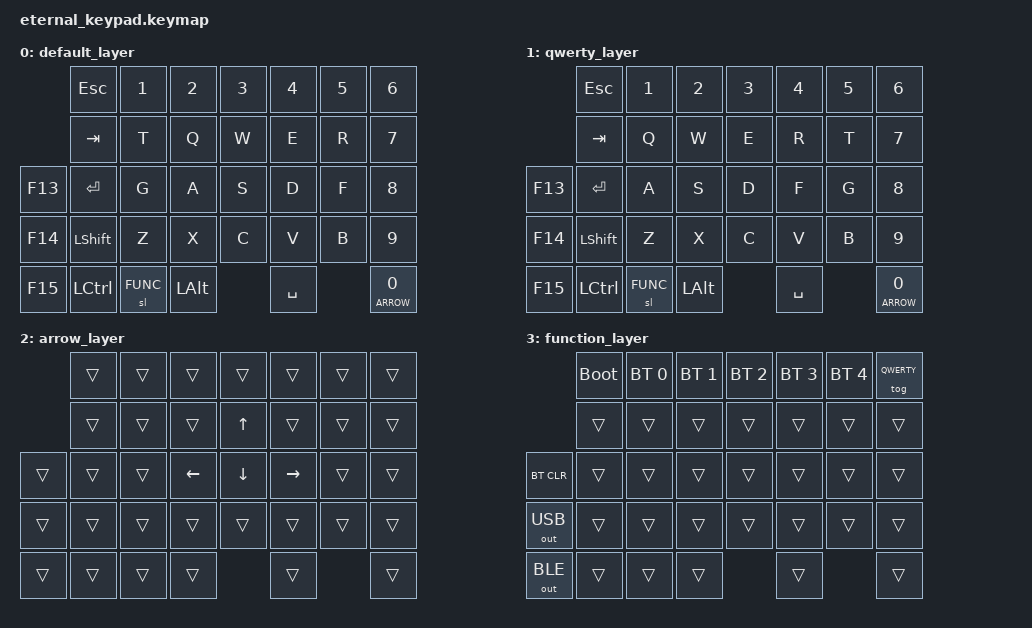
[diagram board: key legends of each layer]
/*
 * Copyright (c) 2022 The ZMK Contributors
 *
 * SPDX-License-Identifier: MIT
 */

#include <behaviors.dtsi>
#include <dt-bindings/zmk/keys.h>
#include <dt-bindings/zmk/bt.h>
#include <dt-bindings/zmk/outputs.h>
#include <dt-bindings/zmk/rgb.h>

#define BASE        0
#define QWERTY      1
#define ARROW       2
#define FUNC        3

/ {
  chosen {
      zmk,kscan = &kscan0;
      zmk,matrix-transform = &default_transform;
  };

  keymap {
    compatible = "zmk,keymap";

    default_layer {
      bindings = <
                    &kp ESC   &kp N1    &kp N2    &kp N3  &kp N4     &kp N5  &kp N6
                    &kp TAB   &kp T     &kp Q     &kp W   &kp E      &kp R   &kp N7
        &kp F13     &kp ENTER &kp G     &kp A     &kp S   &kp D      &kp F   &kp N8
        &kp F14     &kp LSHFT &kp Z     &kp X     &kp C   &kp V      &kp B   &kp N9
        &kp F15     &kp LCTRL &sl FUNC  &kp LALT          &kp SPACE          &lt ARROW N0
      >;
    };

    qwerty_layer {
      bindings = <
                    &kp ESC    &kp N1    &kp N2    &kp N3    &kp N4     &kp N5  &kp N6
                    &kp TAB    &kp Q     &kp W     &kp E     &kp R      &kp T   &kp N7
        &kp F13     &kp ENTER  &kp A     &kp S     &kp D     &kp F      &kp G   &kp N8
        &kp F14     &kp LSHFT  &kp Z     &kp X     &kp C     &kp V      &kp B   &kp N9
        &kp F15     &kp LCTRL  &sl FUNC  &kp LALT            &kp SPACE          &lt ARROW N0
      >;
    };

    arrow_layer {
      bindings = <
                    &trans  &trans  &trans    &trans     &trans     &trans  &trans
                    &trans  &trans  &trans    &kp UP     &trans     &trans  &trans
        &trans      &trans  &trans  &kp LEFT  &kp DOWN   &kp RIGHT  &trans  &trans
        &trans      &trans  &trans  &trans    &trans     &trans     &trans  &trans
        &trans      &trans  &trans  &trans               &trans             &trans
      >;
    };

    function_layer {
      bindings = <
                      &bootloader  &bt BT_SEL 0   &bt BT_SEL 1   &bt BT_SEL 2    &bt BT_SEL 3   &bt BT_SEL 4   &tog QWERTY
                      &trans       &trans         &trans         &trans          &trans         &trans         &trans
        &bt BT_CLR    &trans       &trans         &trans         &trans          &trans         &trans         &trans
        &out OUT_USB  &trans       &trans         &trans         &trans          &trans         &trans         &trans
        &out OUT_BLE  &trans       &trans         &trans                         &trans                        &trans
      >;
    };
  };
};
